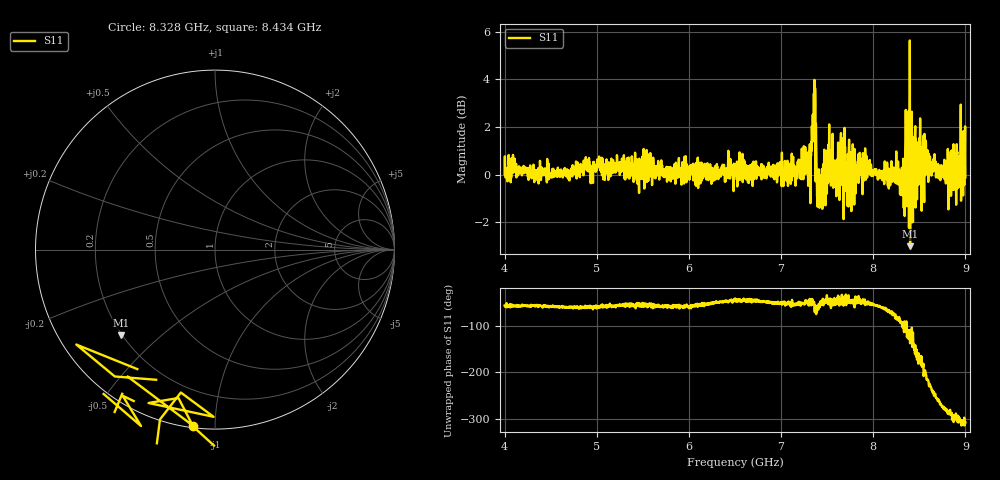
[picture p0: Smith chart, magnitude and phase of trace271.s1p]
! Created with skrf 1.8.0 (http://scikit-rf.org).
# Hz S RI R 50.0
!freq ReS11 ImS11
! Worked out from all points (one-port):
!   1601 points, 4 GHz to 9 GHz, reference 50 ohm
!   lowest |S11| = -3.0 dB at 8.4 GHz (marker M1), VSWR 5.85, Z = 9.8 - j18.8 ohm
!   |S11| at or under -10 dB: nowhere
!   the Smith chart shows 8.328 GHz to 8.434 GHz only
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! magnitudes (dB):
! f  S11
! 4 GHz  0.0
! 4.625 GHz  -0.1
! 5.25 GHz  0.0
! 5.875 GHz  -0.1
! 6.5 GHz  0.1
! 7.125 GHz  0.3
! 7.294 GHz  -0.5
! 7.353 GHz  2.2
! 7.369 GHz  3.6
! 7.412 GHz  -1.1
! 7.538 GHz  0.0
! 7.609 GHz  0.3
! 7.669 GHz  0.6
! 7.703 GHz  -0.7
! 7.75 GHz  0.1
! 7.784 GHz  -0.8
! 7.856 GHz  0.5
! 8.259 GHz  0.4
! 8.316 GHz  -0.3
! 8.334 GHz  -0.6
! 8.375 GHz  -0.3
! 8.4 GHz  -3.0
! 8.447 GHz  1.1
! 8.522 GHz  1.1
! 8.575 GHz  0.8
! 8.706 GHz  -0.1
! 8.972 GHz  0.3
! 9 GHz  -0.1
